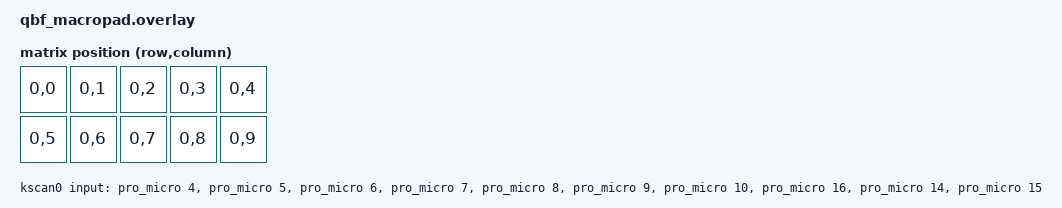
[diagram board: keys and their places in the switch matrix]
#include <dt-bindings/gpio/gpio.h>
#include <zephyr/dt-bindings/pinctrl/nrf-pinctrl.h>
#include <dt-bindings/zmk/matrix_transform.h>

/ {
    chosen {
        zmk,kscan = &kscan0;
        zmk,physical-layout = &physical_layout0;
    };

    kscan0: kscan0 {
        compatible = "zmk,kscan-gpio-direct";
        wakeup-source;
        input-gpios = <&pro_micro 4 (GPIO_ACTIVE_LOW | GPIO_PULL_UP)>,
                      <&pro_micro 5 (GPIO_ACTIVE_LOW | GPIO_PULL_UP)>,
                      <&pro_micro 6 (GPIO_ACTIVE_LOW | GPIO_PULL_UP)>,
                      <&pro_micro 7 (GPIO_ACTIVE_LOW | GPIO_PULL_UP)>,
                      <&pro_micro 8 (GPIO_ACTIVE_LOW | GPIO_PULL_UP)>,
                      <&pro_micro 9 (GPIO_ACTIVE_LOW | GPIO_PULL_UP)>,
                      <&pro_micro 10 (GPIO_ACTIVE_LOW | GPIO_PULL_UP)>,
                      <&pro_micro 16 (GPIO_ACTIVE_LOW | GPIO_PULL_UP)>,
                      <&pro_micro 14 (GPIO_ACTIVE_LOW | GPIO_PULL_UP)>,
                      <&pro_micro 15 (GPIO_ACTIVE_LOW | GPIO_PULL_UP)>;
    };

    default_transform: matrix_transform_0 {
        compatible = "zmk,matrix-transform";
        rows = <1>;
        columns = <10>;
        map = <RC(0,0) RC(0,1) RC(0,2) RC(0,3) RC(0,4)
               RC(0,5) RC(0,6) RC(0,7) RC(0,8) RC(0,9)>;
    };

    physical_layout0: physical_layout_0 {
        compatible = "zmk,physical-layout";
        display-name = "QBF 10-key";
        transform = <&default_transform>;
        kscan = <&kscan0>;
    };
};

&pro_micro_i2c { status = "disabled"; };

&pinctrl {
    qbf_display_default: qbf_display_default {
        group1 {
            psels = <NRF_PSEL(SPIM_SCK, 0, 20)>,
                    <NRF_PSEL(SPIM_MOSI, 0, 17)>;
        };
    };
    qbf_display_sleep: qbf_display_sleep {
        group1 {
            psels = <NRF_PSEL(SPIM_SCK, 0, 20)>,
                    <NRF_PSEL(SPIM_MOSI, 0, 17)>;
            low-power-enable;
        };
    };
};

nice_view_spi: &spi0 {
    compatible = "nordic,nrf-spim";
    pinctrl-0 = <&qbf_display_default>;
    pinctrl-1 = <&qbf_display_sleep>;
    pinctrl-names = "default", "sleep";
    cs-gpios = <&pro_micro 1 GPIO_ACTIVE_HIGH>;
};
